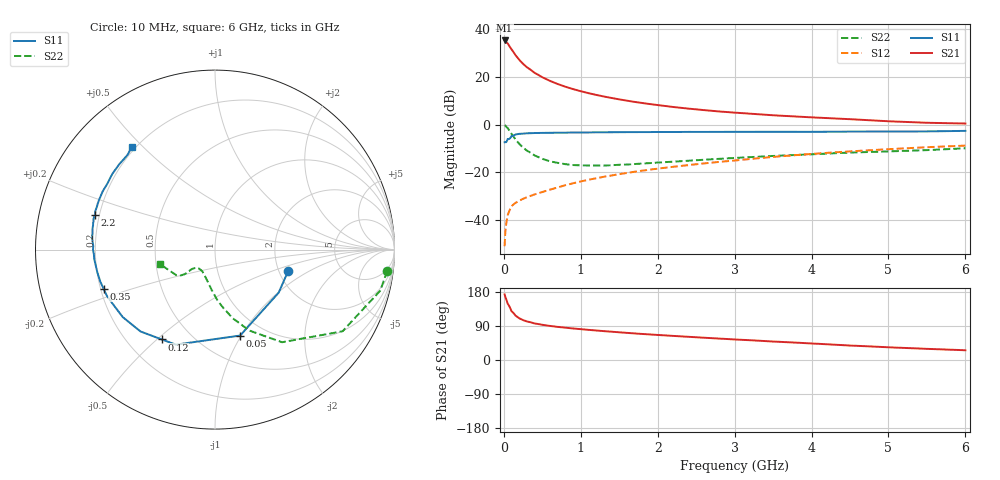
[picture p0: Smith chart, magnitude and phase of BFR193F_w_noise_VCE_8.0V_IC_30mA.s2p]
! Infineon Technologies  Discrete & RF Semiconductors
! BFR193F
! VCE =  8.0 V,  IC =  30 mA
! Common Emitter S-Parameters:  Jan 2017
# GHz  S  MA  R  50
!  f  S11  S21  S12  S22
! GHz  MAG  ANG  MAG  ANG  MAG  ANG  MAG  ANG
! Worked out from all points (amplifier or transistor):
!   77 points, 10 MHz to 6 GHz, reference 50 ohm
!   highest |S21| = 35.3 dB at 10 MHz (marker M1)
!   |S21| within 3 dB of that: start of sweep to 84.53 MHz
!   unconditionally stable (mu >= 1): 1.137 GHz to 2.63 GHz
!   at 130 MHz: K = 0.35, MSG = 31.8 dB, |S12| = -33.4 dB
!   at 2.2 GHz: K = 1.02, MAG = 11.7 dB, |S12| = -17.7 dB
!   at 6 GHz: K = 0.85, MSG = 4.6 dB, |S12| = -8.8 dB
!   lowest NFmin = 1.18 dB at 450 MHz
!   S11 on the Smith chart (normalised r, x): 10 MHz: 2.24, -0.66; 50 MHz: 0.78, -0.99; 120 MHz: 0.34, -0.52; 350 MHz: 0.21, -0.16; 2.2 GHz: 0.18, +0.14; 6 GHz: 0.19, +0.47
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0.01  0.4246 -16.6  58.15 173.0  0.0028 83.7  0.9666 -7.1
0.02  0.4283 -34.1  56.54 166.1  0.0058 79.2  0.9484 -14.0
0.05  0.4989 -73.7  50.37 148.8  0.0125 65.0  0.8441 -32.6
0.1  0.573 -112.4  37.88 128.8  0.0194 55.1  0.6372 -54.1
0.12  0.5818 -120.7  34.11 125.0  0.0207 52.8  0.5747 -58.5
0.15  0.6167 -132.3  28.81 117.5  0.0226 49.9  0.4892 -67.1
0.2  0.6369 -143.8  22.87 110.1  0.0252 48.5  0.3951 -75.5
0.25  0.6446 -151.8  18.77 105.3  0.0276 48.8  0.3275 -82.0
0.3  0.6552 -157.0  15.94 101.7  0.0298 50.4  0.2842 -87.1
0.35  0.658 -160.7  14.03 99.4  0.0319 52.1  0.2539 -90.5
0.4  0.6634 -164.3  12.15 96.4  0.0341 53.6  0.2248 -94.9
0.5  0.6678 -169.1  9.827 92.9  0.0383 56.9  0.1906 -101.1
0.6  0.6705 -172.6  8.241 89.9  0.043 59.8  0.1688 -106.8
0.8  0.6753 -177.8  6.214 85.3  0.0534 64.0  0.1472 -116.0
1.1  0.6825 176.7  4.557 79.6  0.0694 68.0  0.1384 -125.5
1.5  0.6908 171.2  3.375 73.1  0.0909 70.2  0.143 -133.7
2.1  0.6973 164.8  2.448 64.9  0.1241 71.5  0.1627 -139.3
2.2  0.6966 163.8  2.337 63.6  0.1296 71.5  0.1661 -139.6
3.1  0.703 156.0  1.734 53.2  0.1824 71.0  0.2029 -140.4
4.1  0.7046 147.2  1.39 42.6  0.2477 67.8  0.2413 -143.5
5.1  0.7147 137.2  1.154 32.7  0.3099 62.8  0.2764 -154.3
6  0.7365 128.8  1.05 25.7  0.3612 57.6  0.3177 -165.2
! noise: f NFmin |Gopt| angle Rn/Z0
0.45  1.18  0.39  176  0.06
0.9  1.27  0.42  176  0.07
1.9  1.84  0.57  -168  0.07
2.4  2.13  0.61  -159  0.11
